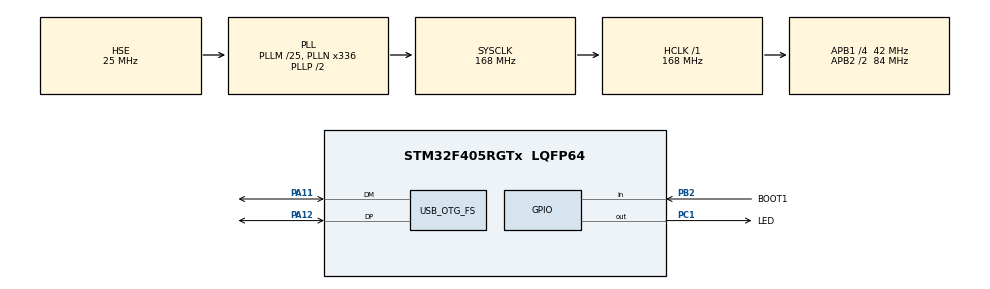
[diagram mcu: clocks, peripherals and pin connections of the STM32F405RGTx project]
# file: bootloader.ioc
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Mcu.Family=STM32F4
Mcu.Name=STM32F405RGTx
Mcu.Package=LQFP64
NVIC.OTG_FS_IRQn=true\:0\:0\:false\:false\:true\:false\:true\:true
NVIC.PriorityGroup=NVIC_PRIORITYGROUP_4
PA11.Mode=Device_Only
PA11.Signal=USB_OTG_FS_DM
PA12.Mode=Device_Only
PA12.Signal=USB_OTG_FS_DP
PA13.Mode=Serial_Wire
PA13.Signal=SYS_JTMS-SWDIO
PA14.Mode=Serial_Wire
PA14.Signal=SYS_JTCK-SWCLK
PB2.GPIO_Label=BOOT1
PB2.Signal=GPIO_Input
PC1.GPIO_Label=LED
PC1.Signal=GPIO_Output
PH0-OSC_IN.Mode=HSE-External-Oscillator
PH0-OSC_IN.Signal=RCC_OSC_IN
PH1-OSC_OUT.Mode=HSE-External-Oscillator
PH1-OSC_OUT.Signal=RCC_OSC_OUT
ProjectManager.HeapSize=0x200
ProjectManager.StackSize=0x400
ProjectManager.TargetToolchain=STM32CubeIDE
RCC.48MHZClocksFreq_Value=48000000
RCC.AHBFreq_Value=168000000
RCC.APB1CLKDivider=RCC_HCLK_DIV4
RCC.APB1Freq_Value=42000000
RCC.APB1TimFreq_Value=84000000
RCC.APB2CLKDivider=RCC_HCLK_DIV2
RCC.APB2Freq_Value=84000000
RCC.APB2TimFreq_Value=168000000
RCC.CortexFreq_Value=168000000
RCC.HCLKFreq_Value=168000000
RCC.HSE_VALUE=25000000
RCC.HSI_VALUE=16000000
RCC.LSE_VALUE=32768
RCC.PLLM=25
RCC.PLLN=336
RCC.PLLQ=7
RCC.SYSCLKFreq_VALUE=168000000
RCC.SYSCLKSource=RCC_SYSCLKSOURCE_PLLCLK
RCC.VCOOutputFreq_Value=336000000
USB_DEVICE.CLASS_NAME_FS=DFU
USB_DEVICE.VirtualMode-DFU_FS=Dfu
USB_DEVICE.VirtualModeFS=Dfu_FS
USB_OTG_FS.VirtualMode=Device_Only
VP_USB_DEVICE_VS_USB_DEVICE_DFU_FS.Mode=DFU_FS
board=custom

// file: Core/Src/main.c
/* USER CODE BEGIN Header */
/**
  ******************************************************************************
  * @file           : main.c
  * @brief          : Main program body
  ******************************************************************************
  * @attention
  *
  * Copyright (c) 2024 STMicroelectronics.
  * All rights reserved.
  *
  * This software is licensed under terms that can be found in the LICENSE file
  * in the root directory of this software component.
  * If no LICENSE file comes with this software, it is provided AS-IS.
  *
  ******************************************************************************
  */
/* USER CODE END Header */
#include "main.h"
#include "usb_device.h"

/* USER CODE BEGIN PTD */
typedef void (*pFunction)(void);

pFunction JumpToApplication;
uint32_t JumpAddress;
/* USER CODE END PTD */

/* USER CODE BEGIN PD */
#define FLASH_APP_START_ADDESS (uint32_t) & _sapp
#define FLASH_APP_END_ADDRESS (uint32_t) & _eapp
#define FLASH_MEM_ADDRESS (uint32_t) & _smem
/* USER CODE END PD */

/* USER CODE BEGIN PV */
extern uint8_t _sapp; // Переменная которая находится в начальном адреск прошивки
extern uint8_t _eapp; // Переменная которая находится в конечном адресе прошивки
extern uint8_t _smem; // Переменная которая находится в еачальном адресе общей области памяти
/* USER CODE END PV */

void SystemClock_Config(void);
static void MX_GPIO_Init(void);

int main(void)
{

  /* MCU Configuration--------------------------------------------------------*/

  /* Reset of all peripherals, Initializes the Flash interface and the Systick. */
  HAL_Init();

  /* Configure the system clock */
  SystemClock_Config();

  /* Initialize all configured peripherals */
  MX_GPIO_Init();
  /* USER CODE BEGIN 2 */
  if(HAL_GPIO_ReadPin(BOOT1_GPIO_Port, BOOT1_Pin ) == GPIO_PIN_SET)
  {
	  extern void* _estack;
  	/* Test if user code is programmed starting from address 0x0800C000 */
      if (((*(uint32_t*) FLASH_APP_START_ADDRESS) & 0x2FFF8000) != &_estack)
      {
  	/* Jump to user application */
        JumpAddress = *(__IO uint32_t *) (FLASH_APP_START_ADDRESS + 4);
        JumpToApplication = (pFunction) JumpAddress;

        	/* Initialize user application's Stack Pointer */
        __set_MSP(*(__IO uint32_t *) FLASH_APP_START_ADDRESS);
        JumpToApplication();
      }
  }
  MX_USB_DEVICE_Init();
  /* USER CODE END 2 */

  /* Infinite loop */
  while (1)
  {

  }
}

void SystemClock_Config(void)
{
  RCC_OscInitTypeDef RCC_OscInitStruct = {0};
  RCC_ClkInitTypeDef RCC_ClkInitStruct = {0};

  /** Configure the main internal regulator output voltage
  */
  __HAL_RCC_PWR_CLK_ENABLE();
  __HAL_PWR_VOLTAGESCALING_CONFIG(PWR_REGULATOR_VOLTAGE_SCALE1);

  /** Initializes the RCC Oscillators according to the specified parameters
  * in the RCC_OscInitTypeDef structure.
  */
  RCC_OscInitStruct.OscillatorType = RCC_OSCILLATORTYPE_HSE;
  RCC_OscInitStruct.HSEState = RCC_HSE_ON;
  RCC_OscInitStruct.PLL.PLLState = RCC_PLL_ON;
  RCC_OscInitStruct.PLL.PLLSource = RCC_PLLSOURCE_HSE;
  RCC_OscInitStruct.PLL.PLLM = 25;
  RCC_OscInitStruct.PLL.PLLN = 336;
  RCC_OscInitStruct.PLL.PLLP = RCC_PLLP_DIV2;
  RCC_OscInitStruct.PLL.PLLQ = 7;
  if (HAL_RCC_OscConfig(&RCC_OscInitStruct) != HAL_OK)
  {
    Error_Handler();
  }

  /** Initializes the CPU, AHB and APB buses clocks
  */
  RCC_ClkInitStruct.ClockType = RCC_CLOCKTYPE_HCLK|RCC_CLOCKTYPE_SYSCLK
                              |RCC_CLOCKTYPE_PCLK1|RCC_CLOCKTYPE_PCLK2;
  RCC_ClkInitStruct.SYSCLKSource = RCC_SYSCLKSOURCE_PLLCLK;
  RCC_ClkInitStruct.AHBCLKDivider = RCC_SYSCLK_DIV1;
  RCC_ClkInitStruct.APB1CLKDivider = RCC_HCLK_DIV4;
  RCC_ClkInitStruct.APB2CLKDivider = RCC_HCLK_DIV2;

  if (HAL_RCC_ClockConfig(&RCC_ClkInitStruct, FLASH_LATENCY_5) != HAL_OK)
  {
    Error_Handler();
  }
}

static void MX_GPIO_Init(void)
{
  GPIO_InitTypeDef GPIO_InitStruct = {0};

  /* GPIO Ports Clock Enable */
  __HAL_RCC_GPIOH_CLK_ENABLE();
  __HAL_RCC_GPIOC_CLK_ENABLE();
  __HAL_RCC_GPIOB_CLK_ENABLE();
  __HAL_RCC_GPIOA_CLK_ENABLE();

  /*Configure GPIO pin Output Level */
  HAL_GPIO_WritePin(LED_GPIO_Port, LED_Pin, GPIO_PIN_RESET);

  /*Configure GPIO pin : LED_Pin */
  GPIO_InitStruct.Pin = LED_Pin;
  GPIO_InitStruct.Mode = GPIO_MODE_OUTPUT_PP;
  GPIO_InitStruct.Pull = GPIO_NOPULL;
  GPIO_InitStruct.Speed = GPIO_SPEED_FREQ_LOW;
  HAL_GPIO_Init(LED_GPIO_Port, &GPIO_InitStruct);

  /*Configure GPIO pin : BOOT1_Pin */
  GPIO_InitStruct.Pin = BOOT1_Pin;
  GPIO_InitStruct.Mode = GPIO_MODE_INPUT;
  GPIO_InitStruct.Pull = GPIO_NOPULL;
  HAL_GPIO_Init(BOOT1_GPIO_Port, &GPIO_InitStruct);

}

void Error_Handler(void)
{
  __disable_irq();
  while (1)
  {
  }
}
